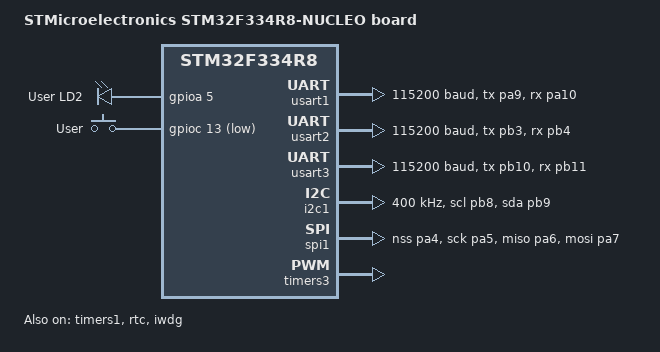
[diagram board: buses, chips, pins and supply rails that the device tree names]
/*
 * Copyright (c) 2017 Linaro Limited
 *
 * SPDX-License-Identifier: Apache-2.0
 */

/dts-v1/;
#include <st/f3/stm32f334X8.dtsi>
#include <st/f3/stm32f334r(6-8)tx-pinctrl.dtsi>

/ {
	model = "STMicroelectronics STM32F334R8-NUCLEO board";
	compatible = "st,stm32f334r8-nucleo";

	pcb {
		compatible = "charge-controller";

		type = "MPPT 2420 HC";
		version-str = "v0.1";
		version-num = <1>;

		hs-voltage-max = <80>;
		ls-voltage-max = <32>;
	};


	dcdc {
		compatible = "dcdc";
		timer = <&timers1>;
		pwm-frequency = <70000>;
		pwm-deadtime = <300>;
		current-max = <20>;
	};

	chosen {
		zephyr,console = &usart2;
		zephyr,shell-uart = &usart2;
		zephyr,sram = &sram0;
		zephyr,flash = &flash0;
	};

	/* temporary solution w/o using RGB LED */
	leds {
		compatible = "charlieplexing-leds";
		gpios = <&gpiob 14 GPIO_ACTIVE_LOW>,	/* red */
			<&gpiob 15 GPIO_ACTIVE_LOW>,	/* green */
			<&gpiob 9 GPIO_ACTIVE_LOW>;	/* blue */

		pwr {
			states = <1 0 0>;
		};

		load {
			states = <0 1 0>;
		};

		rxtx {
			states = <0 0 1>;
		};
	};

	outputs {
		compatible = "outputs";

		pwm_switch {
			label = "PWM power switch (solar panel)";
			pwms = <&pwm3 2 (20*1000*1000) PWM_POLARITY_NORMAL>; /* 20 ms period = 50 Hz */
			current-max = <20>;
			kconfig-flag;	/* make node visible in Kconfig */
		};

		load {
			label = "Load output";
			gpios = <&gpiob 2 GPIO_ACTIVE_LOW>;
			current-max = <20>;
			kconfig-flag;	/* make node visible in Kconfig */
		};

		can_en {
			label = "CAN disable / standby";
			gpios = <&gpiob 11 GPIO_ACTIVE_LOW>;
		};
	};

	adc-inputs {
		compatible = "adc-inputs";

		v-low {
			io-channels = <&adc1 12>;
			multiplier = <105600>;
			divider = <5600>;
		};

		v-high {
			io-channels = <&adc1 15>;
			multiplier = <102200>;
			divider = <2200>;
		};

		temp-fets {
			io-channels = <&adc1 11>;
			multiplier = <10000>;	// 10k NTC series resistor
			divider = <1>;
		};

		vref-mcu {
			io-channels = <&adc1 18>;
			multiplier = <1>;
			divider = <1>;
		};

		temp-mcu {
			io-channels = <&adc1 16>;
			multiplier = <1>;
			divider = <1>;
		};

		i-dcdc {
			io-channels = <&adc1 1>;
			// amp gain: 25, resistor: 2 mOhm
			multiplier = <1000>;	// 1000
			divider = <50>;	// 2*25
		};

		i-load {
			io-channels = <&adc1 2>;
			// amp gain: 25, resistor: 2 mOhm
			multiplier = <1000>;	// 1000
			divider = <50>;	// 2*25
		};
	};

	leds2 {
		compatible = "gpio-leds";
		green_led_2: led_2 {
			gpios = <&gpioa 5 GPIO_ACTIVE_HIGH>;
			label = "User LD2";
		};
	};

	gpio_keys {
		compatible = "gpio-keys";
		user_button: button {
			label = "User";
			gpios = <&gpioc 13 GPIO_ACTIVE_LOW>;
		};
	};

	aliases {
		uart-dbg = &usart1;
		uart-uext = &usart3;
		spi-uext = &spi1;
		i2c-uext = &i2c1;
	};
};

&usart1 {
	pinctrl-0 = <&usart1_tx_pa9 &usart1_rx_pa10>;
	current-speed = <115200>;
	status = "okay";
};

&usart2 {
	pinctrl-0 = <&usart2_tx_pb3 &usart2_rx_pb4>;
	current-speed = <115200>;
	status = "okay";
};

&usart3 {
	pinctrl-0 = <&usart3_tx_pb10 &usart3_rx_pb11>;
	current-speed = <115200>;
};

&i2c1 {
	pinctrl-0 = <&i2c1_scl_pb8 &i2c1_sda_pb9>;
	status = "okay";
	clock-frequency = <I2C_BITRATE_FAST>;
};

&spi1 {
	pinctrl-0 = <&spi1_nss_pa4 &spi1_sck_pa5
		     &spi1_miso_pa6 &spi1_mosi_pa7>;
	status = "okay";
};


&timers1 {
	status = "okay";
	pinctrl-0 = <&tim1_ch1_pa8 &tim1_ch1n_pa11>;
};

/* TIM3 (CH2) used for PWM power switch */
&timers3 {
	status = "okay";
	pwm3: pwm {
		status = "okay";
		pinctrl-0 = <&tim3_ch2_pc7>;
	};
};


&rtc {
	status = "okay";
};

&iwdg {
	status = "okay";
};

&flash0 {

	partitions {
		compatible = "fixed-partitions";
		#address-cells = <1>;
		#size-cells = <1>;

		/* Set 6Kb of storage at the end of the 64Kb of flash */
		storage_partition: partition@e800 {
			label = "storage";
			reg = <0x0000e800 0x00001800>;
		};
	};
};
